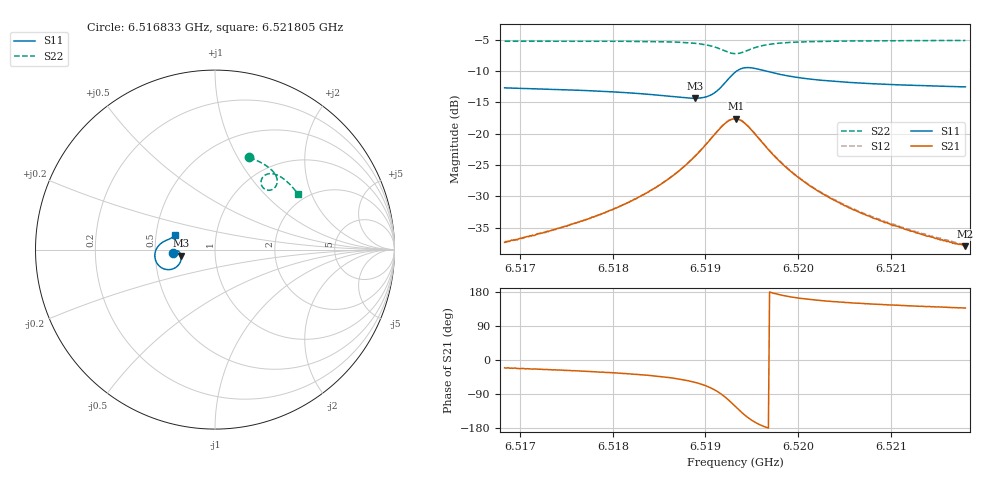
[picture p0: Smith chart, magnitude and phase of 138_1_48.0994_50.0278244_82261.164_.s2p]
#  HZ  S  RI  R  50.00
! Rohde & Schwarz Vector Network Analyzer
! Rohde-Schwarz,ZNB20-2Port,1311601062101988,3.16
! Created: UTC 12/23/2023, 3:48:28 AM
! freq[Hz]  re:S11  im:S11  re:S21  im:S21  re:S12  im:S12  re:S22  im:S22
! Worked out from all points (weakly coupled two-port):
!   401 points, 6.516833 GHz to 6.521805 GHz, reference 50 ohm
!   highest |S21| = -17.61 dB at 6.519332 GHz (marker M1); lowest = -38.0 dB at 6.521805 GHz (marker M2)
!   lowest |S11| = -14.3 dB at 6.518884 GHz (marker M3), VSWR 1.48, Z = 34 - j2.42 ohm
!   |S11| at or under -10 dB: start of sweep to 6.519336 GHz; 6.519656 GHz to end of sweep
!   |S22| runs from -7.2 to -5.1 dB; largest |S21 - S12| = 0.004
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6.5168328e9  -0.2317 -0.0202  0.0127 -0.0048  0.0128 -0.00445  0.1914 0.5134
6.5172803e9  -0.2269 -0.0135  0.0149 -0.00698  0.015 -0.00647  0.2244 0.5004
6.5176657e9  -0.2217 -0.00864  0.0174 -0.0099  0.0178 -0.00926  0.2529 0.4866
6.5181505e9  -0.2127 -0.00599  0.0225 -0.0165  0.023 -0.0157  0.2895 0.4646
6.5184986e9  -0.2028 -0.00972  0.0281 -0.0264  0.0289 -0.0258  0.3161 0.4428
6.5186975e9  -0.1955 -0.0176  0.0318 -0.0375  0.0333 -0.0367  0.3315 0.4251
6.518884e9  -0.189 -0.0343  0.0342 -0.0561  0.036 -0.0553  0.3438 0.4008
6.5189959e9  -0.1888 -0.0528  0.031 -0.0742  0.0335 -0.0737  0.3469 0.3802
6.5190829e9  -0.1951 -0.0734  0.0219 -0.093  0.0248 -0.0929  0.3428 0.3603
6.5192196e9  -0.2359 -0.1079  -0.0196 -0.1206  -0.0162 -0.1219  0.3121 0.3324
6.5193191e9  -0.2911 -0.1046  -0.069 -0.1121  -0.0663 -0.1149  0.2746 0.3389
6.5193315e9  -0.2978 -0.101  -0.0748 -0.1083  -0.072 -0.1111  0.2705 0.3421
6.5193813e9  -0.3198 -0.0813  -0.092 -0.0886  -0.0901 -0.0919  0.2591 0.3586
6.5194434e9  -0.3336 -0.0505  -0.101 -0.0604  -0.1001 -0.0639  0.2566 0.3813
6.5195429e9  -0.3314 -0.00848  -0.0946 -0.0249  -0.0946 -0.0279  0.2704 0.4081
6.5196423e9  -0.3176 0.0176  -0.08 -0.00502  -0.0804 -0.00744  0.2905 0.4201
6.5198661e9  -0.2889 0.0427  -0.0532 0.0104  -0.054 0.00901  0.3278 0.4216
6.520152e9  -0.2667 0.0537  -0.035 0.0132  -0.0356 0.0124  0.3599 0.4088
6.5205747e9  -0.2489 0.0616  -0.0219 0.0123  -0.0227 0.0117  0.3935 0.3854
6.5209849e9  -0.2381 0.0676  -0.0157 0.0109  -0.0163 0.0106  0.419 0.3611
6.5213703e9  -0.2304 0.073  -0.012 0.00961  -0.0126 0.00944  0.4403 0.3378
6.5218054e9  -0.2232 0.079  -0.00927 0.00857  -0.0097 0.00857  0.4612 0.3109
